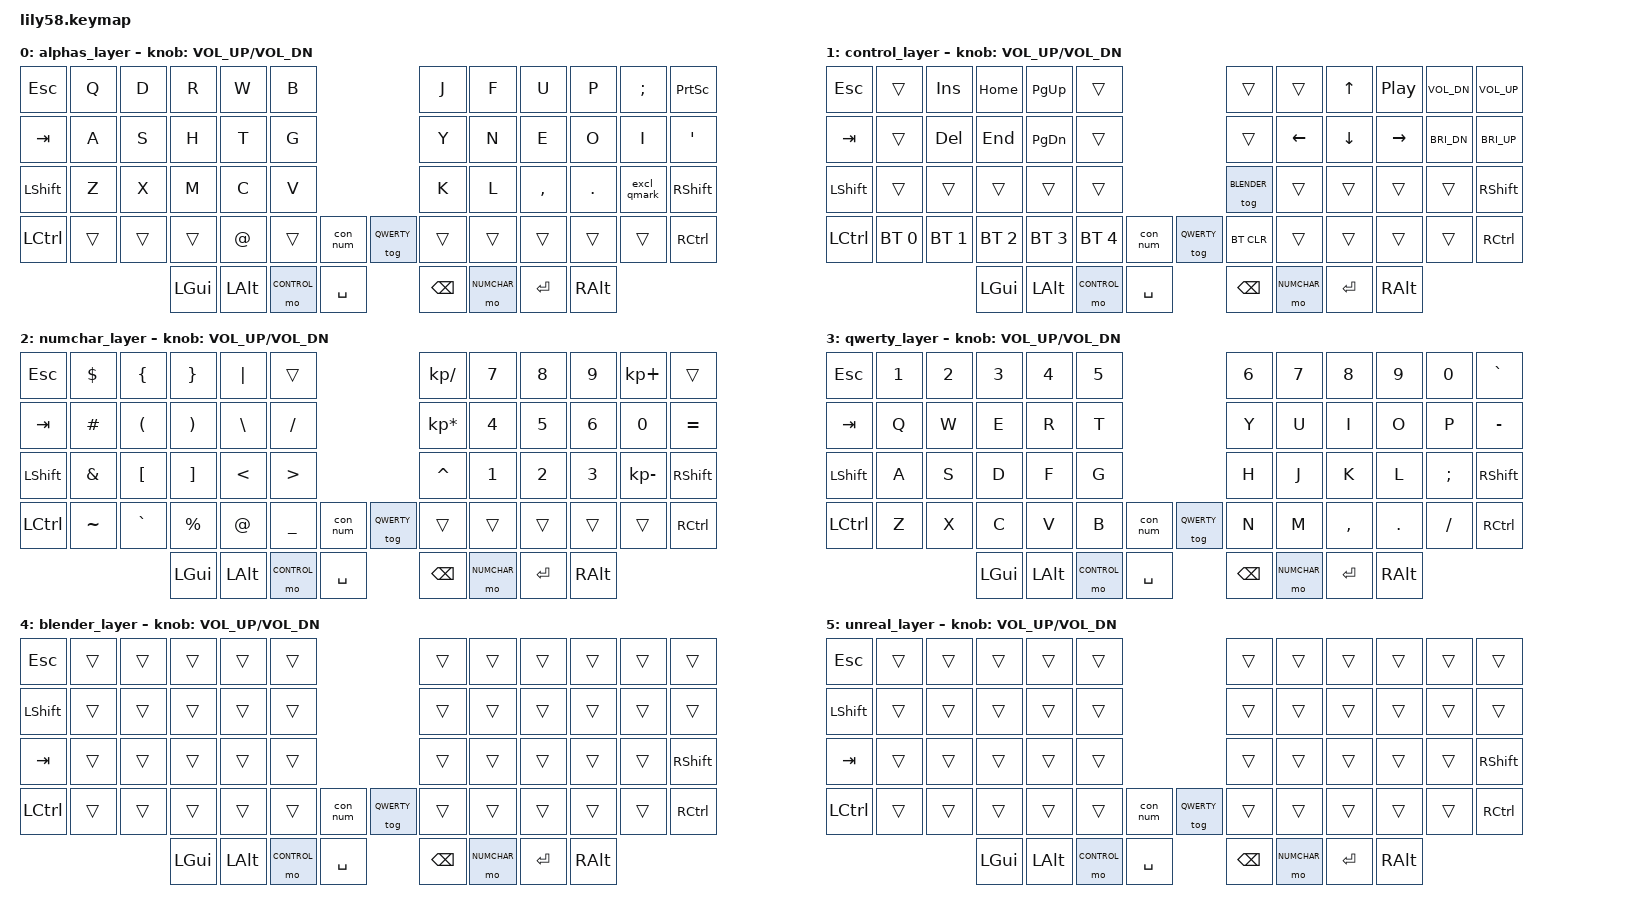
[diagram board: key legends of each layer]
/*
 * Copyright (c) 2020 The ZMK Contributors
 *
 * SPDX-License-Identifier: MIT
 */

#include <behaviors.dtsi>
#include <dt-bindings/zmk/keys.h>
#include <dt-bindings/zmk/bt.h>
#include <dt-bindings/zmk/ext_power.h>

#define ALPHAS   0
#define CONTROL  1
#define NUMCHAR  2
#define QWERTY   3
#define BLENDER  4
#define UNREAL   5

/ {
    behaviors {
        excl_qmark: exclamation_queationmark {
            compatible = "zmk,behavior-mod-morph";
            label = "EXCL_QMARK";
            #binding-cells = <0>;
            bindings = <&kp EXCL>, <&kp QMARK>;
            mods = <(MOD_LSFT|MOD_RSFT)>;
            keep-mods = <(MOD_RSFT)>;
        };
        con_num: control_numchar {
        	compatible = "zmk,behavior-mod-morph";
        	label = "CON_NUM";
        	#binding-cells = <0>;
        	bindings = <&tog CONTROL>, <&tog NUMCHAR>;
        	mods = <(MOD_LSFT|MOD_RSFT)>;
        	keep-mods = <(MOD_RSFT)>;
    	};
    };
};


/ {
    keymap {
        compatible = "zmk,keymap";

        alphas_layer {
// ------------------------------------------------------------------------------------------------------------
// |  ESC  |  Q  |  D  |  R   |  W   |  B   |                       |  J   |  F   |  U    |  P   |   ;   | PSCRN |
// | SHIFT |  A  |  S  |  H   |  T   |  G   |                       |  Y   |  N   |  E    |  O   |   I   | APOS  |
// |  TAB  |  Z  |  X  |  M   |  C   |  V   |                       |  K   |  L   |  ,    |  .   |   !   | RSHFT |
// | CTRL  |     |     |      |  @   |      |TOG CON|   |  TOG QWER |      |      |       |      |       | RCTRL |
//                     | GUI  | LALT |LOWER | SPACE |   | BKSPC_DEL | RAISE| ENT  |  ALT  |
            bindings = <
&kp ESC    &kp Q   &kp D   &kp R     &kp W     &kp B                                   &kp J   &kp F     &kp U      &kp P    &kp SEMI    &kp PSCRN
&kp TAB    &kp A   &kp S   &kp H     &kp T     &kp G                                   &kp Y   &kp N     &kp E      &kp O    &kp I       &kp APOS
&kp LSHFT  &kp Z   &kp X   &kp M     &kp C     &kp V                                   &kp K   &kp L     &kp COMMA  &kp DOT  &excl_qmark &kp RSHFT
&kp LCTRL  &trans  &trans  &trans    &kp AT    &trans       &con_num     &tog QWERTY   &trans  &trans    &trans     &trans   &trans      &kp RCTRL
                           &kp LGUI  &kp LALT  &mo CONTROL  &kp SPACE    &kp BACKSPACE &mo NUMCHAR   &kp RET   &kp RALT
            >;

            sensor-bindings = <&inc_dec_kp C_VOL_UP C_VOL_DN>;
        };

        control_layer {
// ------------------------------------------------------------------------------------------------------------
// |  ESC  |     | INS | HOME | PG_UP|      |                   |      |       |   ^   |  >=   | VOL_DN| VOL_UP |
// | SHIFT |     | DEL | END  | PG_DN|      |                   |      |   <-  |   V   |  ->   | BRI_DN| BRI_UP|
// |  TAB  |     |     |      |      |      |                 |TOG BLEND|TOG UNREAL|   |       |       | RSHFT  |
// | CTRL  | BT1 | BT2 |  BT3 |  BT4 |  BT5 | CON_NUM|  | QWERT |BT CLR|       |       |       |       | RCTRL  |
//                     |  GUI | LALT | LOWER|  SPACE |  | BKSPC | RAISE| BTCLR | RALT  |
            bindings = <
&kp ESC    &trans        &kp INS       &kp HOME      &kp PG_UP     &trans                                 &trans         &trans     &kp UP     &kp C_PP     &kp C_VOL_DN &kp C_VOL_UP
&kp TAB    &trans        &kp DEL       &kp END       &kp PG_DN     &trans                                 &trans         &kp LEFT   &kp DOWN   &kp RIGHT    &kp C_BRI_DN &kp C_BRI_UP
&kp LSHFT  &trans        &trans        &trans        &trans        &trans                                 &tog BLENDER   &trans     &trans     &trans       &trans       &kp RSHFT
&kp LCTRL  &bt BT_SEL 0  &bt BT_SEL 1  &bt BT_SEL 2  &bt BT_SEL 3  &bt BT_SEL 4  &con_num   &tog QWERTY   &bt BT_CLR     &trans     &trans     &trans       &trans       &kp RCTRL
                                       &kp LGUI      &kp LALT      &mo CONTROL   &kp SPACE  &kp BACKSPACE &mo NUMCHAR    &kp RET    &kp RALT
            >;

            sensor-bindings = <&inc_dec_kp C_VOL_UP C_VOL_DN>;
        };

        numchar_layer {
// ------------------------------------------------------------------------------------------------------------
// |  ESC  |  $  |  {  |  }   |  |   |      |                  | DIV  |   7   |   8   |  9   |   +   |        |
// |  TAB  |  #  |  (  |  )   |  \   |  /   |                  |  *   |   4   |   5   |  6   |   0   |   =    |
// | SHIFT |  &  |  [  |  ]   |  <   |  >   |                  |  ^   |   1   |   2   |  3   |   -   | RSHFT  |
// | CTRL  |  ~  |  `  |  %   |  @   |  _   |CON_NUM|  | QWERT |      |       |       |      |       | RCTRL  |
//                     | ALT  | GUI  | LOWER| SPACE |  | BKSPC | RAISE|  ENT  | BTCLR |
            bindings = <
&kp ESC    &kp DLLR  &kp LBRC   &kp RBRC   &kp PIPE   &trans                                 &kp KP_DIVIDE       &kp N7   &kp N8       &kp N9     &kp KP_PLUS      &trans
&kp TAB    &kp HASH  &kp LPAR   &kp RPAR   &kp BSLH   &kp FSLH                               &kp KP_MULTIPLY     &kp N4   &kp N5       &kp N6     &kp N0           &kp EQUAL
&kp LSHFT  &kp AMPS  &kp LBKT   &kp RBKT   &kp LT     &kp GT                                 &kp CARET           &kp N1   &kp N2       &kp N3     &kp KP_SUBTRACT  &kp RSHFT
&kp LCTRL  &kp TILDE &kp GRAVE  &kp PRCNT  &kp AT  &kp UNDER    &con_num    &tog QWERTY   &trans              &trans   &trans       &trans     &trans           &kp RCTRL
                                &kp LGUI   &kp LALT   &mo CONTROL  &kp SPACE   &kp BACKSPACE &mo NUMCHAR         &kp RET  &kp RALT
            >;

            sensor-bindings = <&inc_dec_kp C_VOL_UP C_VOL_DN>;
        };

        qwerty_layer {
// ------------------------------------------------------------------------------------------------------------
// |  ESC  |  1  |  2  |  3   |  4   |  5   |                   |  6   |  7    |  8    |  9   |   0   |   `   |
// | SHIFT |  Q  |  W  |  E   |  R   |  T   |                   |  Y   |  U    |  I    |  O   |   P   |   -   |
// |  TAB  |  A  |  S  |  D   |  F   |  G   |                   |  H   |  J    |  K    |  L   |   ;   | SHIFT |
// | CTRL  |  Z  |  X  |  C   |  V   |  B   | CON_NUM|  | QWERT |  N   |  M    |  ,    |  .   |   /   | CTRL  |
//                     | ALT  | GUI  | LOWER|  SPACE |  | ENTER | RAISE| &bt BT_CLR | GUI   |
            bindings = <
&kp ESC   &kp N1 &kp N2 &kp N3   &kp N4    &kp N5                                  &kp N6       &kp N7   &kp N8    &kp N9  &kp N0   &kp GRAVE
&kp TAB   &kp Q  &kp W  &kp E    &kp R     &kp T                                   &kp Y        &kp U    &kp I     &kp O   &kp P    &kp MINUS
&kp LSHFT &kp A  &kp S  &kp D    &kp F     &kp G                                   &kp H        &kp J    &kp K     &kp L   &kp SEMI &kp RSHFT
&kp LCTRL &kp Z  &kp X  &kp C    &kp V     &kp B       &con_num      &tog QWERTY   &kp N        &kp M    &kp COMMA &kp DOT &kp FSLH &kp RCTRL
                        &kp LGUI &kp LALT  &mo CONTROL &kp SPACE     &kp BACKSPACE &mo NUMCHAR  &kp RET  &kp RALT
            >;

            sensor-bindings = <&inc_dec_kp C_VOL_UP C_VOL_DN>;
        };

        blender_layer {
// ------------------------------------------------------------------------------------------------------------
// |  ESC  |     |     |      |      |      |                  |      |       |       |      |       |        |
// |  TAB  |     |     |      |      |      |                  |      |       |       |      |       |        |
// | SHIFT |     |     |      |      |      |                  |      |       |       |      |       | RSHFT  |
// | CTRL  |     |     |      |      |      |CON_NUM|  | QWERT |      |       |       |      |       | RCTRL  |
//                     | ALT  | GUI  | LOWER| SPACE |  | BKSPC | RAISE|  ENT  | BTCLR |
            bindings = <
&kp ESC     &trans   &trans  &trans   &trans   &trans                                &trans       &trans   &trans   &trans   &trans    &trans
&kp LSHFT   &trans   &trans  &trans   &trans   &trans                                &trans       &trans   &trans   &trans   &trans    &trans
&kp TAB     &trans   &trans  &trans   &trans   &trans                                &trans       &trans   &trans   &trans   &trans    &kp RSHFT
&kp LCTRL   &trans   &trans  &trans   &trans   &trans      &con_num    &tog QWERTY   &trans       &trans   &trans   &trans   &trans    &kp RCTRL
                             &kp LGUI &kp LALT &mo CONTROL &kp SPACE   &kp BACKSPACE &mo NUMCHAR  &kp RET  &kp RALT
            >;

            sensor-bindings = <&inc_dec_kp C_VOL_UP C_VOL_DN>;
        };
            unreal_layer {
// ------------------------------------------------------------------------------------------------------------
// |  ESC  |     |     |      |      |      |                  |      |       |       |      |       |        |
// |  TAB  |     |     |      |      |      |                  |      |       |       |      |       |        |
// | SHIFT |     |     |      |      |      |                  |      |       |       |      |       | RSHFT  |
// | CTRL  |     |     |      |      |      |CON_NUM|  | QWERT |      |       |       |      |       | RCTRL  |
//                     | ALT  | GUI  | LOWER| SPACE |  | BKSPC | RAISE|  ENT  | BTCLR |
            bindings = <
&kp ESC     &trans   &trans  &trans   &trans   &trans                                &trans       &trans   &trans   &trans   &trans    &trans
&kp LSHFT   &trans   &trans  &trans   &trans   &trans                                &trans       &trans   &trans   &trans   &trans    &trans
&kp TAB     &trans   &trans  &trans   &trans   &trans                                &trans       &trans   &trans   &trans   &trans    &kp RSHFT
&kp LCTRL   &trans   &trans  &trans   &trans   &trans      &con_num    &tog QWERTY   &trans       &trans   &trans   &trans   &trans    &kp RCTRL
                             &kp LGUI &kp LALT &mo CONTROL &kp SPACE   &kp BACKSPACE &mo NUMCHAR  &kp RET  &kp RALT
            >;

            sensor-bindings = <&inc_dec_kp C_VOL_UP C_VOL_DN>;
        };
    };
};
